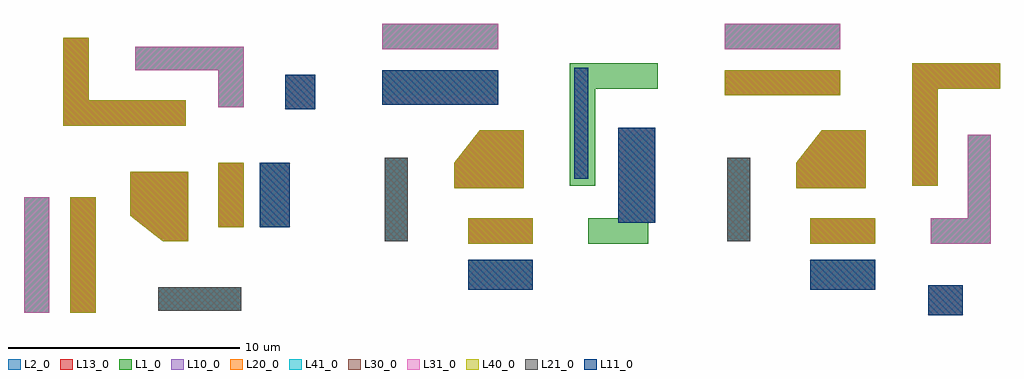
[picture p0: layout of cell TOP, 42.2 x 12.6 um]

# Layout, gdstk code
from math import pi, radians
import gdstk
lib = gdstk.Library(unit=1e-6, precision=1e-09)
def R(c, l, rs):  # rectangles x0, y0, x1, y1
    for r in rs: c.add(gdstk.rectangle(r[:2], r[2:], *l))
def P(c, l, *ps):  # polygons
    for p in ps: c.add(gdstk.Polygon(p, *l))
L1_0 = (1, 0)
L2_0 = (2, 0)
L10_0 = (10, 0)
L11_0 = (11, 0)
L13_0 = (13, 0)
L20_0 = (20, 0)
L21_0 = (21, 0)
L30_0 = (30, 0)
L31_0 = (31, 0)
L40_0 = (40, 0)
L41_0 = (41, 0)

c_a = lib.new_cell('A')
R(c_a, L1_0, [(4.5,0.8,7.3,1.9), (4.5,2.6,7.3,3.7), (9.7,2.6,12.3,3.7), (0.9,2.7,1.9,6.3), (11.3,3.7,12.3,7.3), (0.8,9,5.8,10.1), (0.8,11,2.8,12.1), (2.8,11,5.8,12.1)])
P(c_a, L1_0, [(3.9,5),(3.9,6.1),(5,7.5),(6.9,7.5),(6.9,5)],
  [(8.9,5.1),(8.9,10.4),(12.7,10.4),(12.7,9.3),(10,9.3),(10,5.1)])
R(c_a, L2_0, [(4.5,0.6,7.3,1.9), (4.5,2.6,7.3,3.7), (0.9,2.7,1.9,4.5), (0.9,4.5,1.9,6.3)])
P(c_a, L2_0, [(3.9,5),(3.9,6.1),(5,7.5),(6.9,7.5),(6.9,5)])
R(c_a, L10_0, [(4.5,2.6,7.3,3.7), (0.9,2.7,1.9,6.3)])
P(c_a, L10_0, [(3.9,5),(3.9,6.1),(5,7.5),(6.9,7.5),(6.9,5)])
R(c_a, L11_0, [(4.5,0.6,7.3,1.9)])
R(c_a, L13_0, [(4.5,0.6,7.3,1.9), (4.5,2.6,7.3,3.7), (0.9,2.7,1.9,4.5), (0.9,4.5,1.9,6.3)])
P(c_a, L13_0, [(3.9,5),(3.9,6.1),(5,7.5),(6.9,7.5),(6.9,5)])
R(c_a, L20_0, [(4.5,2.6,7.3,3.7)])
P(c_a, L20_0, [(3.9,5),(3.9,6.1),(5,7.5),(6.9,7.5),(6.9,5)])
R(c_a, L21_0, [(4.5,0.6,7.3,1.9), (0.9,2.7,1.9,4.5), (0.9,4.5,1.9,6.3)])
R(c_a, L30_0, [(4.5,2.6,7.3,3.7), (0.9,2.7,1.9,6.3)])
P(c_a, L30_0, [(3.9,5),(3.9,6.1),(5,7.5),(6.9,7.5),(6.9,5)])
R(c_a, L31_0, [(4.5,0.6,7.3,1.9)])
R(c_a, L40_0, [(4.5,2.6,7.3,3.7)])
P(c_a, L40_0, [(3.9,5),(3.9,6.1),(5,7.5),(6.9,7.5),(6.9,5)])
R(c_a, L41_0, [(4.5,0.6,7.3,1.9), (0.9,2.7,1.9,4.5), (0.9,4.5,1.9,6.3)])

c_b = lib.new_cell('B')
R(c_b, L2_0, [(0,0,1.1,5), (2,0,3.1,5), (11.3,8.8,12.6,10.3)])
P(c_b, L2_0, [(8.4,8.9),(8.4,10.5),(4.8,10.5),(4.8,11.5),(9.5,11.5),(9.5,8.9)],
  [(1.7,8.1),(1.7,11.9),(2.8,11.9),(2.8,9.2),(7,9.2),(7,8.1)])
R(c_b, L10_0, [(0,0,1.1,5), (2,0,3.1,5)])
P(c_b, L10_0, [(8.4,8.9),(8.4,10.5),(4.8,10.5),(4.8,11.5),(9.5,11.5),(9.5,8.9)],
  [(1.7,8.1),(1.7,11.9),(2.8,11.9),(2.8,9.2),(7,9.2),(7,8.1)])
R(c_b, L11_0, [(11.3,8.8,12.6,10.3)])
R(c_b, L13_0, [(0,0,1.1,5), (2,0,3.1,5), (11.3,8.8,12.6,10.3)])
P(c_b, L13_0, [(8.4,8.9),(8.4,10.5),(4.8,10.5),(4.8,11.5),(9.5,11.5),(9.5,8.9)],
  [(1.7,8.1),(1.7,11.9),(2.8,11.9),(2.8,9.2),(7,9.2),(7,8.1)])
R(c_b, L20_0, [(0,0,1.1,5), (2,0,3.1,5)])
P(c_b, L20_0, [(8.4,8.9),(8.4,10.5),(4.8,10.5),(4.8,11.5),(9.5,11.5),(9.5,8.9)],
  [(1.7,8.1),(1.7,11.9),(2.8,11.9),(2.8,9.2),(7,9.2),(7,8.1)])
R(c_b, L21_0, [(11.3,8.8,12.6,10.3)])
R(c_b, L30_0, [(2,0,3.1,5)])
P(c_b, L30_0, [(1.7,8.1),(1.7,11.9),(2.8,11.9),(2.8,9.2),(7,9.2),(7,8.1)])
R(c_b, L31_0, [(0,0,1.1,5), (11.3,8.8,12.6,10.3)])
P(c_b, L31_0, [(8.4,8.9),(8.4,10.5),(4.8,10.5),(4.8,11.5),(9.5,11.5),(9.5,8.9)])
R(c_b, L40_0, [(2,0,3.1,5)])
P(c_b, L40_0, [(1.7,8.1),(1.7,11.9),(2.8,11.9),(2.8,9.2),(7,9.2),(7,8.1)])
R(c_b, L41_0, [(0,0,1.1,5), (11.3,8.8,12.6,10.3)])
P(c_b, L41_0, [(8.4,8.9),(8.4,10.5),(4.8,10.5),(4.8,11.5),(9.5,11.5),(9.5,8.9)])

top = lib.new_cell('TOP')
R(top, L2_0, [(1.1,1.2,2.2,6.2), (3.1,1.2,4.2,6.2), (26.8,5.1,28.4,9.2), (24.9,7,25.5,11.8), (12.4,10,13.7,11.5), (16.6,10.2,21.6,11.7), (16.6,12.6,21.6,13.7)])
P(top, L2_0, [(9.5,10.1),(9.5,11.7),(5.9,11.7),(5.9,12.7),(10.6,12.7),(10.6,10.1)],
  [(2.8,9.3),(2.8,13.1),(3.9,13.1),(3.9,10.4),(8.1,10.4),(8.1,9.3)])
R(top, L10_0, [(1.1,1.2,2.2,6.2), (3.1,1.2,4.2,6.2), (16.6,12.6,21.6,13.7)])
P(top, L10_0, [(9.5,10.1),(9.5,11.7),(5.9,11.7),(5.9,12.7),(10.6,12.7),(10.6,10.1)],
  [(2.8,9.3),(2.8,13.1),(3.9,13.1),(3.9,10.4),(8.1,10.4),(8.1,9.3)])
R(top, L11_0, [(26.8,5.1,28.4,9.2), (24.9,7,25.5,11.8), (12.4,10,13.7,11.5), (16.6,10.2,21.6,11.7)])
R(top, L13_0, [(1.1,1.2,2.2,6.2), (3.1,1.2,4.2,6.2), (26.8,5.1,28.4,9.2), (24.9,7,25.5,11.8), (12.4,10,13.7,11.5), (16.6,10.2,21.6,11.7), (16.6,12.6,21.6,13.7)])
P(top, L13_0, [(9.5,10.1),(9.5,11.7),(5.9,11.7),(5.9,12.7),(10.6,12.7),(10.6,10.1)],
  [(2.8,9.3),(2.8,13.1),(3.9,13.1),(3.9,10.4),(8.1,10.4),(8.1,9.3)])
R(top, L20_0, [(1.1,1.2,2.2,6.2), (3.1,1.2,4.2,6.2), (16.6,12.6,21.6,13.7)])
P(top, L20_0, [(9.5,10.1),(9.5,11.7),(5.9,11.7),(5.9,12.7),(10.6,12.7),(10.6,10.1)],
  [(2.8,9.3),(2.8,13.1),(3.9,13.1),(3.9,10.4),(8.1,10.4),(8.1,9.3)])
R(top, L21_0, [(26.8,5.1,28.4,9.2), (24.9,7,25.5,11.8), (12.4,10,13.7,11.5), (16.6,10.2,21.6,11.7)])
R(top, L30_0, [(3.1,1.2,4.2,6.2)])
P(top, L30_0, [(2.8,9.3),(2.8,13.1),(3.9,13.1),(3.9,10.4),(8.1,10.4),(8.1,9.3)])
R(top, L31_0, [(1.1,1.2,2.2,6.2), (26.8,5.1,28.4,9.2), (24.9,7,25.5,11.8), (12.4,10,13.7,11.5), (16.6,10.2,21.6,11.7), (16.6,12.6,21.6,13.7)])
P(top, L31_0, [(9.5,10.1),(9.5,11.7),(5.9,11.7),(5.9,12.7),(10.6,12.7),(10.6,10.1)])
R(top, L40_0, [(3.1,1.2,4.2,6.2)])
P(top, L40_0, [(2.8,9.3),(2.8,13.1),(3.9,13.1),(3.9,10.4),(8.1,10.4),(8.1,9.3)])
R(top, L41_0, [(1.1,1.2,2.2,6.2), (26.8,5.1,28.4,9.2), (24.9,7,25.5,11.8), (12.4,10,13.7,11.5), (16.6,10.2,21.6,11.7), (16.6,12.6,21.6,13.7)])
P(top, L41_0, [(9.5,10.1),(9.5,11.7),(5.9,11.7),(5.9,12.7),(10.6,12.7),(10.6,10.1)])
top.add(gdstk.Reference(c_a, (15.8,1.6)))
top.add(gdstk.Reference(c_a, (30.6,1.6)))
top.add(gdstk.Reference(c_a, (13.2,0.4), rotation=pi/2))
top.add(gdstk.Reference(c_b, (31.4,13.7), rotation=3*pi/2))

lib.write_gds('TOP.gds')
